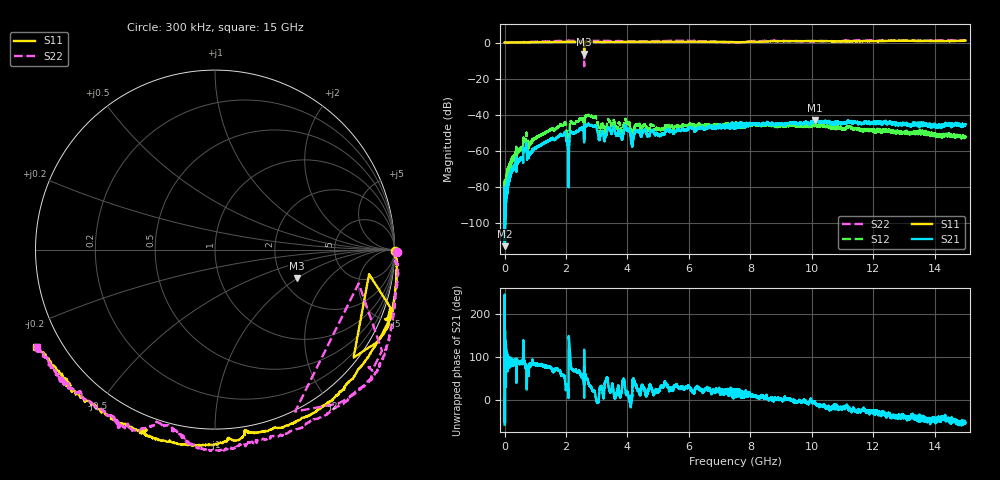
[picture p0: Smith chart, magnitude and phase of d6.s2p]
!Agilent Technologies,N5230C,SG49000117,A.08.50.07
!Agilent N5230C: A.08.50.07
!Date: Friday, May 17, 2024 20:45:46
!Correction: S11(Full 2 Port(1,2))
!S21(Full 2 Port(1,2))
!S12(Full 2 Port(1,2))
!S22(Full 2 Port(1,2))
!S2P File: Measurements: S11, S21, S12, S22:
# Hz S  MA  R 50
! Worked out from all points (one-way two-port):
!   20001 points, 300 kHz to 15 GHz, reference 50 ohm
!   highest |S21| = -43.11 dB at 10.1 GHz (marker M1); lowest = -112.7 dB at 13.05 MHz (marker M2)
!   lowest |S11| = -6.3 dB at 2.59 GHz (marker M3), VSWR 2.87, Z = 119 - j49.8 ohm
!   |S11| at or under -10 dB: nowhere
!   |S22| runs from -13.1 to 1.2 dB; largest |S21 - S12| = 0.0054
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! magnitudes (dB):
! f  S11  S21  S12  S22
! 300 kHz  0.0  -90.2  -97.2  0.1
! 13.05 MHz  0.0  -112.7  -85.7  0.0
! 231.3 MHz  0.1  -70.8  -65.0  0.1
! 646.8 MHz  0.2  -59.8  -54.3  0.3
! 1.909 GHz  0.4  -51.4  -45.9  0.9
! 2.061 GHz  0.4  -57.2  -51.7  1.0
! 2.189 GHz  0.4  -50.0  -44.3  1.0
! 2.501 GHz  0.4  -47.5  -42.1  1.0
! 2.59 GHz  -6.3  -50.1  -48.3  -13.1
! 2.906 GHz  0.4  -46.4  -41.4  0.9
! 3.26 GHz  0.3  -53.7  -49.0  0.9
! 3.404 GHz  0.4  -47.4  -43.5  0.9
! 3.822 GHz  0.4  -53.3  -50.1  0.8
! 3.985 GHz  0.4  -48.7  -45.2  0.8
! 4.155 GHz  0.5  -56.5  -52.6  0.7
! 4.328 GHz  0.5  -48.8  -45.1  0.8
! 5 GHz  0.5  -51.2  -48.0  0.8
! 7.5 GHz  0.3  -46.7  -46.3  0.2
! 10 GHz  0.8  -43.8  -46.1  0.8
! 10.1 GHz  0.9  -43.1  -45.8  0.8
! 12.5 GHz  1.0  -44.3  -48.7  1.0
! 15 GHz  1.1  -45.2  -51.9  1.1
